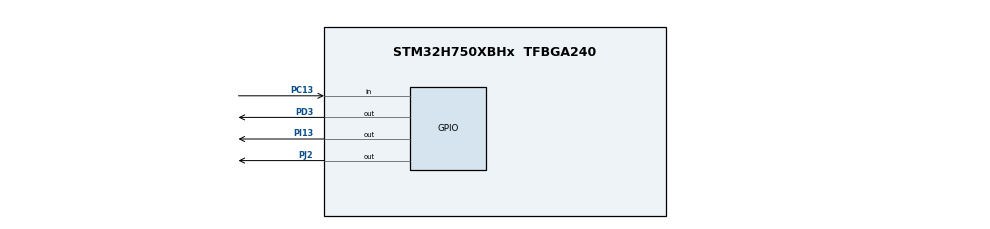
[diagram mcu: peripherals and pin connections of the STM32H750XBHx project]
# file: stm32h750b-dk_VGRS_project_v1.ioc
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CORTEX_M7.default_mode_Activation=1
Mcu.Family=STM32H7
Mcu.Name=STM32H750XBHx
Mcu.Package=TFBGA240
NVIC.PriorityGroup=NVIC_PRIORITYGROUP_4
PA13\ (JTMS/SWDIO).Mode=Serial_Wire
PA13\ (JTMS/SWDIO).Signal=DEBUG_JTMS-SWDIO
PA14\ (JTCK/SWCLK).Mode=Serial_Wire
PA14\ (JTCK/SWCLK).Signal=DEBUG_JTCK-SWCLK
PB10.Signal=USART3_TX
PB11.Signal=USART3_RX
PC13.Signal=GPIO_Input
PD3.Signal=GPIO_Output
PH0-OSC_IN\ (PH0).Mode=HSE-External-Oscillator
PH0-OSC_IN\ (PH0).Signal=RCC_OSC_IN
PH1-OSC_OUT\ (PH1).Mode=HSE-External-Oscillator
PH1-OSC_OUT\ (PH1).Signal=RCC_OSC_OUT
PI13.PinState=GPIO_PIN_SET
PI13.Signal=GPIO_Output
PJ2.PinState=GPIO_PIN_SET
PJ2.Signal=GPIO_Output
ProjectManager.HeapSize=0x200
ProjectManager.StackSize=0x400
ProjectManager.TargetToolchain=CMake
RCC.ADCFreq_Value=129000000
RCC.APB1Freq_Value=32000000
RCC.APB2Freq_Value=64000000
RCC.APB3Freq_Value=64000000
RCC.APB4Freq_Value=64000000
RCC.CortexFreq_Value=64000000
RCC.D2PPRE1=RCC_APB1_DIV2
RCC.HCLKFreq_Value=64000000
RCC.SYSCLKFreq_VALUE=64000000
RCC.USBFreq_Value=129000000
VP_MEMORYMAP_VS_MEMORYMAP.Mode=CurAppReg
board=custom

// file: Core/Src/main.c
/* USER CODE BEGIN Header */
/**
 ******************************************************************************
 * @file           : main.c
 * @brief          : Main program body
 ******************************************************************************
 * @attention
 *
 * Copyright (c) 2026 STMicroelectronics.
 * All rights reserved.
 *
 * This software is licensed under terms that can be found in the LICENSE file
 * in the root directory of this software component.
 * If no LICENSE file comes with this software, it is provided AS-IS.
 *
 ******************************************************************************
 */
/* USER CODE END Header */

/* USER CODE BEGIN Includes */
#include "main.h"
#include "adc.h"
#include "buzzer.h"
#include "cmsis_gcc.h"
#include "display.h"
#include "exti.h"
#include "gpio.h"
#include "hcsr04.h"
#include "helper_functions.h"
#include "joystick.h"
#include "lcd.h"
#include "mg90s.h"
#include "redirect.h"
#include "stm32_hal_legacy.h"
#include "stm32_lcd.h"
#include "stm32h750b_discovery_errno.h"
#include "stm32h750b_discovery_lcd.h"
#include "stm32h750b_discovery_sdram.h"
#include "stm32h750xx.h"
#include "stm32h7xx_hal.h"
#include "stm32h7xx_hal_cortex.h"
#include "stm32h7xx_hal_def.h"
#include "stm32h7xx_hal_dma2d.h"
#include "stm32h7xx_hal_gpio.h"
#include "stm32h7xx_hal_tim.h"
#include "tim.h"
#include "uart.h"
#include <math.h>
#include <stdint.h>
#include <stdio.h>
#include <string.h>

/* USER CODE END Includes */

/* USER CODE BEGIN PV */
extern volatile uint16_t adc3_dma_values[3];

/* USER CODE END PV */

void SystemClock_Config(void);
static void MPU_Config(void);

int main(void)
{

    /* MPU Configuration--------------------------------------------------------*/
    MPU_Config();

    /* MCU Configuration--------------------------------------------------------*/
    SCB_EnableICache();
    SCB_EnableDCache();

    /* Reset of all peripherals, Initializes the Flash interface and the Systick.
     */
    HAL_Init();

    /* Configure the system clock */
    SystemClock_Config();

    /* Initialize all configured peripherals */
    MX_GPIO_Init();

    MK_GPIO_Init();
    MK_UART_Init();
    MK_ADC_Init();
    MK_TIM_Init();
    MK_EXTI_Init();

    MK_Display_Init();

    HAL_Delay(100);
    /* USER CODE BEGIN 2 */

    /*ADC kalibracija*/
    if (HAL_ADCEx_Calibration_Start(&hadc3, ADC_CALIB_OFFSET_LINEARITY, ADC_SINGLE_ENDED) != HAL_OK)
    {
        Error_Handler();
    }

    /*DMA prenos internega temperaturnega senzorja in kordinat joysticka*/
    if (HAL_ADC_Start_DMA(&hadc3, (uint32_t*)adc3_dma_values, 3) != HAL_OK)
    {
        Error_Handler();
    }

    /*passive buzzer pwm start*/
    if (HAL_TIM_PWM_Start(&htim15, TIM_CHANNEL_2) != HAL_OK)
    {
        Error_Handler();
    }

    /*HC-SR04 echo input capture mode start IT*/
    if (HAL_TIM_IC_Start_IT(&htim12, TIM_CHANNEL_2) != HAL_OK)
    {
        Error_Handler();
    }

    /*micro-second delay base start*/
    if (HAL_TIM_Base_Start(&htim6) != HAL_OK)
    {
        Error_Handler();
    }

    draw_background_static_once();

    /*osvezevanje ekrana tim7 base start*/
    if (HAL_TIM_Base_Start_IT(&htim7) != HAL_OK)
    {
        Error_Handler();
    }

    /*MG90S servo tim3_ch1 pwm start*/
    __HAL_TIM_SET_COMPARE(&htim3, TIM_CHANNEL_1, 1500);
    if (HAL_TIM_PWM_Start(&htim3, TIM_CHANNEL_1) != HAL_OK)
    {
        Error_Handler();
    }

    /* USER CODE END 2 */

    /* Infinite loop */
    /* USER CODE BEGIN WHILE */
    uint32_t last_print = 0;
    uint32_t last_hcsr = 0;

    while (1)
    {
        /* USER CODE END WHILE */

        /* USER CODE BEGIN 3 */
        buzzer_update();
        HCSR04_CheckEchoTimeout();

        if (refresh_frame_flag)
        {
            refresh_frame_flag = 0;
            wait_for_vsync();
            draw_dynamic_content();
        }

        uint32_t now = HAL_GetTick();

        // HC-SR04 trigger 5 Hz
        if (!HCSR04_IsBusy() && now - last_hcsr >= 200)
        {
            last_hcsr = now;
            HCSR04_SetCurrentSweepAngle(sweeper_handle_angle);
            HCSR04_Trigger();
        }

        // debug print 1 Hz
        if (now - last_print >= 1000)
        {
            last_print = now;
            printf("\r\nmcu internal temperature sensor: [%f]\r\njoystick cordinates: [x:%u] [y:%u]\r\n",
                   (double)calc_intern_temp_sens(adc3_dma_values[0]), adc3_dma_values[1], adc3_dma_values[2]);
        }
    }
    /* USER CODE END 3 */
}

void SystemClock_Config(void)
{
    RCC_OscInitTypeDef RCC_OscInitStruct = {0};
    RCC_ClkInitTypeDef RCC_ClkInitStruct = {0};

    /** Supply configuration update enable
     */
    HAL_PWREx_ConfigSupply(PWR_LDO_SUPPLY);

    /** Configure the main internal regulator output voltage
     */
    __HAL_PWR_VOLTAGESCALING_CONFIG(PWR_REGULATOR_VOLTAGE_SCALE2);

    while (!__HAL_PWR_GET_FLAG(PWR_FLAG_VOSRDY)) {}

    /** Initializes the RCC Oscillators according to the specified parameters
     * in the RCC_OscInitTypeDef structure.
     */
    RCC_OscInitStruct.OscillatorType = RCC_OSCILLATORTYPE_HSE;
    RCC_OscInitStruct.HSEState = RCC_HSE_ON;
    RCC_OscInitStruct.PLL.PLLState = RCC_PLL_ON;
    RCC_OscInitStruct.PLL.PLLSource = RCC_PLLSOURCE_HSE;
    RCC_OscInitStruct.PLL.PLLM = 3;
    RCC_OscInitStruct.PLL.PLLN = 30;
    RCC_OscInitStruct.PLL.PLLP = 2;
    RCC_OscInitStruct.PLL.PLLQ = 4;
    RCC_OscInitStruct.PLL.PLLR = 2;
    RCC_OscInitStruct.PLL.PLLRGE = RCC_PLL1VCIRANGE_3;
    RCC_OscInitStruct.PLL.PLLVCOSEL = RCC_PLL1VCOWIDE;
    RCC_OscInitStruct.PLL.PLLFRACN = 0;
    if (HAL_RCC_OscConfig(&RCC_OscInitStruct) != HAL_OK)
    {
        Error_Handler();
    }

    /** Initializes the CPU, AHB and APB buses clocks
     */
    RCC_ClkInitStruct.ClockType = RCC_CLOCKTYPE_HCLK | RCC_CLOCKTYPE_SYSCLK | RCC_CLOCKTYPE_PCLK1 |
                                  RCC_CLOCKTYPE_PCLK2 | RCC_CLOCKTYPE_D3PCLK1 | RCC_CLOCKTYPE_D1PCLK1;
    RCC_ClkInitStruct.SYSCLKSource = RCC_SYSCLKSOURCE_PLLCLK;
    RCC_ClkInitStruct.SYSCLKDivider = RCC_SYSCLK_DIV1;
    RCC_ClkInitStruct.AHBCLKDivider = RCC_HCLK_DIV1;
    RCC_ClkInitStruct.APB3CLKDivider = RCC_APB3_DIV1;
    RCC_ClkInitStruct.APB1CLKDivider = RCC_APB1_DIV1;
    RCC_ClkInitStruct.APB2CLKDivider = RCC_APB2_DIV1;
    RCC_ClkInitStruct.APB4CLKDivider = RCC_APB4_DIV1;

    if (HAL_RCC_ClockConfig(&RCC_ClkInitStruct, FLASH_LATENCY_2) != HAL_OK)
    {
        Error_Handler();
    }
}

/* MPU Configuration */

void MPU_Config(void)
{
    MPU_Region_InitTypeDef MPU_InitStruct = {0};

    /* Disables the MPU */
    HAL_MPU_Disable();

    /* spremenjeno -> naredi da je .dma_buffer (RAM_D2) non cachable (ni potrebno delati SCB_InvalidateDCache_by_Addr)*/
    MPU_InitStruct.Enable = MPU_REGION_ENABLE;
    MPU_InitStruct.Number = MPU_REGION_NUMBER0;
    MPU_InitStruct.BaseAddress = 0x30000000;
    MPU_InitStruct.Size = MPU_REGION_SIZE_512KB;
    MPU_InitStruct.SubRegionDisable =
        0b11100000; // 512kB regija ima 8 sub-regij po 64kB, 288=4.5*64 ~ 5, disablamo regije 5, 6 in 7
    MPU_InitStruct.TypeExtField = MPU_TEX_LEVEL0;
    MPU_InitStruct.AccessPermission = MPU_REGION_FULL_ACCESS;
    MPU_InitStruct.DisableExec = MPU_INSTRUCTION_ACCESS_DISABLE;
    MPU_InitStruct.IsShareable = MPU_ACCESS_SHAREABLE;
    MPU_InitStruct.IsCacheable = MPU_ACCESS_NOT_CACHEABLE;
    MPU_InitStruct.IsBufferable = MPU_ACCESS_NOT_BUFFERABLE;
    HAL_MPU_ConfigRegion(&MPU_InitStruct);

    /* config SDRAM kot not cacheable (za LCD framebuffer)*/
    MPU_InitStruct.Enable = MPU_REGION_ENABLE;
    MPU_InitStruct.Number = MPU_REGION_NUMBER1;
    MPU_InitStruct.BaseAddress = 0xD0000000; // SDRAM base address
    MPU_InitStruct.Size = MPU_REGION_SIZE_32MB;
    MPU_InitStruct.SubRegionDisable = 0x0;
    MPU_InitStruct.TypeExtField = MPU_TEX_LEVEL0;
    MPU_InitStruct.AccessPermission = MPU_REGION_FULL_ACCESS;
    MPU_InitStruct.DisableExec = MPU_INSTRUCTION_ACCESS_DISABLE;
    MPU_InitStruct.IsShareable = MPU_ACCESS_NOT_SHAREABLE;
    MPU_InitStruct.IsCacheable = MPU_ACCESS_NOT_CACHEABLE;
    MPU_InitStruct.IsBufferable = MPU_ACCESS_NOT_BUFFERABLE;
    HAL_MPU_ConfigRegion(&MPU_InitStruct);

    /* Enables the MPU */
    HAL_MPU_Enable(MPU_PRIVILEGED_DEFAULT);
}

void Error_Handler(void)
{
    __disable_irq();
    while (1) {}
}
#ifdef USE_FULL_ASSERT
/**
 * @brief  Reports the name of the source file and the source line number
 *         where the assert_param error has occurred.
 * @param  file: pointer to the source file name
 * @param  line: assert_param error line source number
 * @retval None
 */
void assert_failed(uint8_t* file, uint32_t line)
{
    /* USER CODE BEGIN 6 */
    /* User can add his own implementation to report the file name and line
       number, ex: printf("Wrong parameters value: file %s on line %d\r\n", file,
       line) */
    /* USER CODE END 6 */
}
#endif /* USE_FULL_ASSERT */
